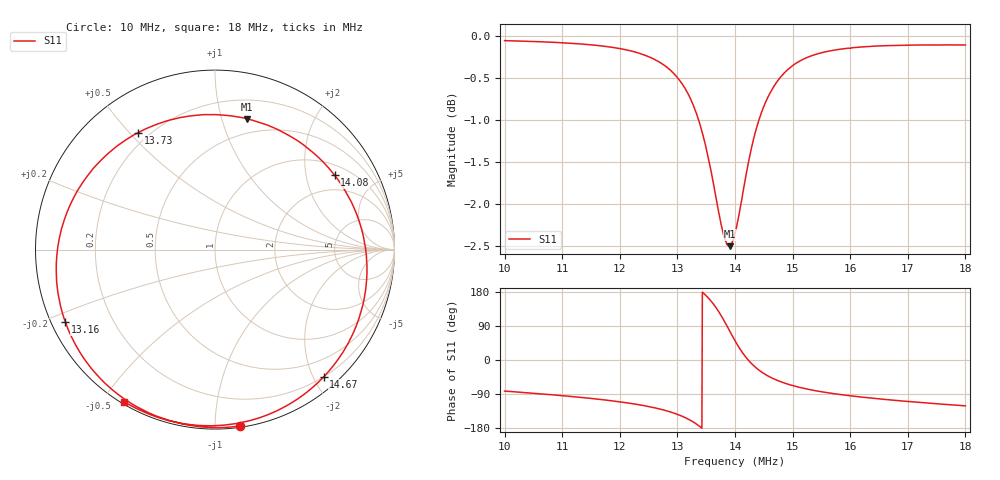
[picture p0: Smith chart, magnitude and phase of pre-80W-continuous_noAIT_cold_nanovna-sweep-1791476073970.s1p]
! NanoVNA Web complex sweep
! Processing: unaveraged complex samples; linear segment spacing; no smoothing
# Hz S RI R 50
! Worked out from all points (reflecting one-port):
!   1010 points, 10 MHz to 18 MHz, reference 50 ohm
!   lowest |S11| = -2.5 dB at 13.91 MHz (marker M1), VSWR 6.99, Z = 18.2 + j60.4 ohm
!   phase of S11 starts at -82 deg and turns -399 deg over the sweep
!   S11 on the Smith chart (normalised r, x): 10 MHz: 0.01, -1.15; 13.16 MHz: 0.04, -0.23; 13.73 MHz: 0.16, +0.53; 14.08 MHz: 1.36, +2.93; 14.67 MHz: 0.20, -2.15; 18 MHz: 0.01, -0.57
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1e7  0.1379 -0.9839
1.100698e7  -0.0726 -0.9878
1.200604e7  -0.3441 -0.9203
1.233113e7  -0.4588 -0.8621
1.260071e7  -0.5689 -0.7835
1.282272e7  -0.6716 -0.6829
1.300509e7  -0.7604 -0.5589
1.316367e7  -0.8337 -0.4043
1.33619e7  -0.8846 -0.1183
1.350462e7  -0.8399 0.1646
1.362355e7  -0.6936 0.4325
1.373456e7  -0.43 0.6509
1.382178e7  -0.1407 0.7443
1.3909e7  0.1785 0.7281
1.400414e7  0.4923 0.584
1.407551e7  0.667 0.4135
1.417858e7  0.8107 0.134
1.428959e7  0.8462 -0.1465
1.437681e7  0.818 -0.3295
1.446403e7  0.7646 -0.4766
1.455918e7  0.6929 -0.6012
1.467018e7  0.6049 -0.7098
1.482083e7  0.4901 -0.8108
1.50032e7  0.3659 -0.8877
1.545515e7  0.1258 -0.9679
1.600225e7  -0.076 -0.9799
1.700131e7  -0.3285 -0.9311
1.800036e7  -0.5083 -0.8466
